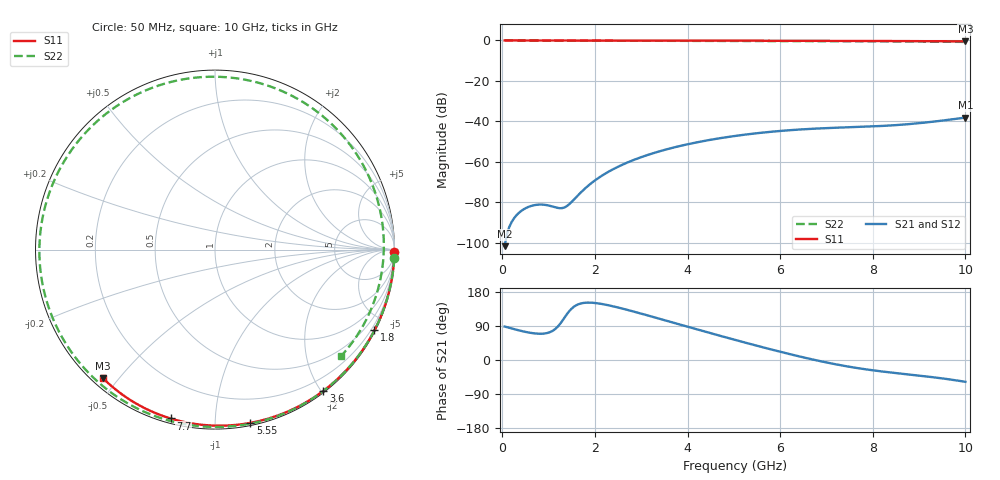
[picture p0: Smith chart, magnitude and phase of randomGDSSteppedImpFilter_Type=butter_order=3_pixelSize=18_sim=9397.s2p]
! freq	dB(S11)	phase(S11)	dB(S12)	phase(S12)
!  dB(S21)	phase(S21)	dB(S22)	phase(S22)
!S-par simulation data
#  GHz  S  DB  R 50
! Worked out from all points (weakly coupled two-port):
!   200 points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, 50 MHz to 10 GHz, reference 50 ohm
!   highest |S21| = -38.11 dB at 10 GHz (marker M1); lowest = -101.6 dB at 50 MHz (marker M2)
!   lowest |S11| = -0.4 dB at 10 GHz (marker M3), VSWR 39.24, Z = 1.54 - j22.7 ohm
!   |S11| at or under -10 dB: nowhere
!   |S22| runs from -0.7 to 0.0 dB; largest |S21 - S12| = 0
!   S11 on the Smith chart (normalised r, x): 50 MHz: open; 1.8 GHz: 0.04, -4.19; 3.6 GHz: 0.02, -2.03; 5.55 GHz: 0.02, -1.23; 7.7 GHz: 0.02, -0.77; 10 GHz: 0.03, -0.45
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0.05  -0.00 -0.8  -101.64 88.3  -101.64 88.3  -0.00 -2.7
0.4  -0.01 -6.0  -84.38 76.9  -84.38 76.9  -0.03 -21.5
0.8  -0.02 -12.0  -81.10 69.3  -81.10 69.3  -0.05 -42.4
1.45  -0.03 -21.7  -80.81 129.5  -80.81 129.5  -0.09 -74.4
1.5  -0.03 -22.4  -79.71 135.9  -79.71 135.9  -0.09 -76.7
1.75  -0.03 -26.1  -73.91 150.5  -73.91 150.5  -0.10 -88.2
1.8  -0.03 -26.9  -72.86 151.2  -72.86 151.2  -0.10 -90.4
2.45  -0.05 -36.3  -62.96 140.0  -62.96 140.0  -0.13 -117.9
2.95  -0.06 -43.4  -58.07 124.1  -58.07 124.1  -0.14 -137.5
3.4  -0.07 -49.7  -54.74 108.7  -54.74 108.7  -0.16 -154.1
3.6  -0.07 -52.5  -53.48 101.7  -53.48 101.7  -0.17 -161.3
4.3  -0.09 -62.1  -49.90 77.6  -49.90 77.6  -0.20 174.2
5.05  -0.11 -72.0  -47.11 52.3  -47.11 52.3  -0.23 148.2
5.55  -0.13 -78.4  -45.70 36.0  -45.70 36.0  -0.26 130.6
6.15  -0.15 -86.0  -44.44 17.2  -44.44 17.2  -0.30 108.9
6.7  -0.18 -92.8  -43.63 1.4  -43.63 1.4  -0.33 88.3
7.2  -0.21 -98.8  -43.13 -11.3  -43.13 -11.3  -0.36 69.0
7.7  -0.24 -104.8  -42.73 -21.9  -42.73 -21.9  -0.40 49.4
8.35  -0.29 -112.3  -42.05 -32.5  -42.05 -32.5  -0.46 23.5
8.75  -0.32 -116.9  -41.39 -37.8  -41.39 -37.8  -0.51 7.6
9.15  -0.36 -121.5  -40.52 -43.3  -40.52 -43.3  -0.56 -8.0
10  -0.44 -131.1  -38.11 -57.6  -38.11 -57.6  -0.73 -40.2
